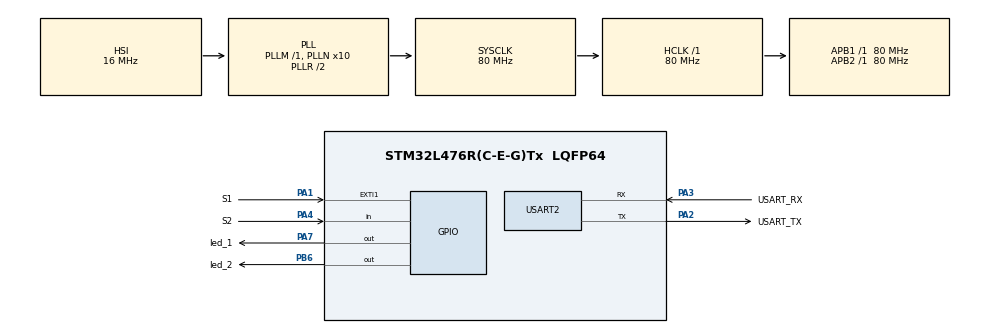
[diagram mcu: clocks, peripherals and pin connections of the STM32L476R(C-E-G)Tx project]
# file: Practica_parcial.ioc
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Mcu.Family=STM32L4
Mcu.Name=STM32L476R(C-E-G)Tx
Mcu.Package=LQFP64
NVIC.EXTI1_IRQn=true\:0\:0\:false\:false\:true\:true\:true\:true
NVIC.EXTI4_IRQn=true\:0\:0\:false\:false\:true\:true\:true\:true
NVIC.PriorityGroup=NVIC_PRIORITYGROUP_4
PA1.GPIO_Label=S1
PA1.Signal=GPXTI1
PA13\ (JTMS-SWDIO).GPIO_Label=TMS
PA13\ (JTMS-SWDIO).Mode=Serial_Wire
PA13\ (JTMS-SWDIO).Signal=SYS_JTMS-SWDIO
PA14\ (JTCK-SWCLK).GPIO_Label=TCK
PA14\ (JTCK-SWCLK).Mode=Serial_Wire
PA14\ (JTCK-SWCLK).Signal=SYS_JTCK-SWCLK
PA2.GPIO_Label=USART_TX
PA2.GPIO_Mode=GPIO_MODE_AF_PP
PA2.GPIO_PuPd=GPIO_NOPULL
PA2.GPIO_Speed=GPIO_SPEED_FREQ_VERY_HIGH
PA2.Mode=Asynchronous
PA2.Signal=USART2_TX
PA3.GPIO_Label=USART_RX
PA3.GPIO_Mode=GPIO_MODE_AF_PP
PA3.GPIO_PuPd=GPIO_NOPULL
PA3.GPIO_Speed=GPIO_SPEED_FREQ_VERY_HIGH
PA3.Mode=Asynchronous
PA3.Signal=USART2_RX
PA4.GPIO_Label=S2
PA4.Signal=SharedStack_PA4
PA4.Stacked=true
PA7.GPIO_Label=led_1
PA7.Signal=GPIO_Output
PB3\ (JTDO-TRACESWO).GPIO_Label=SWO
PB3\ (JTDO-TRACESWO).Signal=SYS_JTDO-SWO
PB6.GPIO_Label=led_2
PB6.Signal=GPIO_Output
ProjectManager.HeapSize=0x200
ProjectManager.StackSize=0x400
ProjectManager.TargetToolchain=STM32CubeIDE
RCC.ADCFreq_Value=64000000
RCC.AHBFreq_Value=80000000
RCC.APB1Freq_Value=80000000
RCC.APB1TimFreq_Value=80000000
RCC.APB2Freq_Value=80000000
RCC.APB2TimFreq_Value=80000000
RCC.CortexFreq_Value=80000000
RCC.HCLKFreq_Value=80000000
RCC.HSE_VALUE=8000000
RCC.HSI_VALUE=16000000
RCC.MSI_VALUE=4000000
RCC.PLLN=10
RCC.PLLSourceVirtual=RCC_PLLSOURCE_HSI
RCC.PREFETCH_ENABLE=1
RCC.SYSCLKFreq_VALUE=80000000
RCC.SYSCLKSource=RCC_SYSCLKSOURCE_PLLCLK
RCC.USBFreq_Value=64000000
RCC.VCOOutputFreq_Value=160000000
SH.SharedStack_PA4.0=GPIO_Input+0
SH.SharedStack_PA4.1=GPIO_EXTI4
USART2.VirtualMode-Asynchronous=VM_ASYNC
board=NUCLEO-L476RG

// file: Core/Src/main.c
/* USER CODE BEGIN Header */
/**
  ******************************************************************************
  * @file           : main.c
  * @brief          : Main program body
  ******************************************************************************
  * @attention
  *
  * Copyright (c) 2024 STMicroelectronics.
  * All rights reserved.
  *
  * This software is licensed under terms that can be found in the LICENSE file
  * in the root directory of this software component.
  * If no LICENSE file comes with this software, it is provided AS-IS.
  *
  ******************************************************************************
  */
/* USER CODE END Header */
#include "main.h"

/* USER CODE BEGIN PM */
uint32_t flag1=0;
uint32_t flag2=0;

/* USER CODE END PM */

UART_HandleTypeDef huart2;

void SystemClock_Config(void);
static void MX_GPIO_Init(void);
static void MX_USART2_UART_Init(void);
/* USER CODE BEGIN PFP */
void HAL_GPIO_EXTI_Callback(uint16_t GPIO_Pin){
	UNUSED(GPIO_Pin);
	if (GPIO_Pin == S1_Pin){

		flag1++;
		if (flag1==1){
			HAL_UART_Transmit(&huart2,"l1_active\r\n",11,10);

		}
		else if (flag1 ==2 ){
			flag1 = 0;
			HAL_UART_Transmit(&huart2,"l1_reset\r\n",10,10);

		}
	}

	else if (GPIO_Pin == S2_Pin){
			flag2++;
			if (flag2==1){
				HAL_UART_Transmit(&huart2,"l2_active\r\n",11,10);
					}
		}
}
/* USER CODE END PFP */

int main(void)
{
  /* USER CODE BEGIN 1 */
	uint32_t counter_righ =0;
	uint32_t counter_left =0;
  /* USER CODE END 1 */

  /* MCU Configuration--------------------------------------------------------*/

  /* Reset of all peripherals, Initializes the Flash interface and the Systick. */
  HAL_Init();

  /* Configure the system clock */
  SystemClock_Config();

  /* Initialize all configured peripherals */
  MX_GPIO_Init();
  MX_USART2_UART_Init();

  /* Infinite loop */
  while (1)
  {
	  if(flag1 == 1){
		  while(counter_righ < 6){

			  HAL_GPIO_TogglePin(led_1_GPIO_Port,led_1_Pin);
			  HAL_Delay(300);
			  counter_righ++;

		  }

	  }

	  if(flag2 == 1){
		  while(counter_left < 6){

		  			  HAL_GPIO_TogglePin(led_2_GPIO_Port,led_2_Pin);
		  			  HAL_Delay(300);
		  			  counter_left++;

		  		  }

	 	  }
  }
}

void SystemClock_Config(void)
{
  RCC_OscInitTypeDef RCC_OscInitStruct = {0};
  RCC_ClkInitTypeDef RCC_ClkInitStruct = {0};

  /** Configure the main internal regulator output voltage
  */
  if (HAL_PWREx_ControlVoltageScaling(PWR_REGULATOR_VOLTAGE_SCALE1) != HAL_OK)
  {
    Error_Handler();
  }

  /** Initializes the RCC Oscillators according to the specified parameters
  * in the RCC_OscInitTypeDef structure.
  */
  RCC_OscInitStruct.OscillatorType = RCC_OSCILLATORTYPE_HSI;
  RCC_OscInitStruct.HSIState = RCC_HSI_ON;
  RCC_OscInitStruct.HSICalibrationValue = RCC_HSICALIBRATION_DEFAULT;
  RCC_OscInitStruct.PLL.PLLState = RCC_PLL_ON;
  RCC_OscInitStruct.PLL.PLLSource = RCC_PLLSOURCE_HSI;
  RCC_OscInitStruct.PLL.PLLM = 1;
  RCC_OscInitStruct.PLL.PLLN = 10;
  RCC_OscInitStruct.PLL.PLLP = RCC_PLLP_DIV7;
  RCC_OscInitStruct.PLL.PLLQ = RCC_PLLQ_DIV2;
  RCC_OscInitStruct.PLL.PLLR = RCC_PLLR_DIV2;
  if (HAL_RCC_OscConfig(&RCC_OscInitStruct) != HAL_OK)
  {
    Error_Handler();
  }

  /** Initializes the CPU, AHB and APB buses clocks
  */
  RCC_ClkInitStruct.ClockType = RCC_CLOCKTYPE_HCLK|RCC_CLOCKTYPE_SYSCLK
                              |RCC_CLOCKTYPE_PCLK1|RCC_CLOCKTYPE_PCLK2;
  RCC_ClkInitStruct.SYSCLKSource = RCC_SYSCLKSOURCE_PLLCLK;
  RCC_ClkInitStruct.AHBCLKDivider = RCC_SYSCLK_DIV1;
  RCC_ClkInitStruct.APB1CLKDivider = RCC_HCLK_DIV1;
  RCC_ClkInitStruct.APB2CLKDivider = RCC_HCLK_DIV1;

  if (HAL_RCC_ClockConfig(&RCC_ClkInitStruct, FLASH_LATENCY_4) != HAL_OK)
  {
    Error_Handler();
  }
}

static void MX_USART2_UART_Init(void)
{

  huart2.Instance = USART2;
  huart2.Init.BaudRate = 115200;
  huart2.Init.WordLength = UART_WORDLENGTH_8B;
  huart2.Init.StopBits = UART_STOPBITS_1;
  huart2.Init.Parity = UART_PARITY_NONE;
  huart2.Init.Mode = UART_MODE_TX_RX;
  huart2.Init.HwFlowCtl = UART_HWCONTROL_NONE;
  huart2.Init.OverSampling = UART_OVERSAMPLING_16;
  huart2.Init.OneBitSampling = UART_ONE_BIT_SAMPLE_DISABLE;
  huart2.AdvancedInit.AdvFeatureInit = UART_ADVFEATURE_NO_INIT;
  if (HAL_UART_Init(&huart2) != HAL_OK)
  {
    Error_Handler();
  }

}

static void MX_GPIO_Init(void)
{
  GPIO_InitTypeDef GPIO_InitStruct = {0};

  /* GPIO Ports Clock Enable */
  __HAL_RCC_GPIOA_CLK_ENABLE();
  __HAL_RCC_GPIOB_CLK_ENABLE();

  /*Configure GPIO pin Output Level */
  HAL_GPIO_WritePin(led_1_GPIO_Port, led_1_Pin, GPIO_PIN_SET);

  /*Configure GPIO pin Output Level */
  HAL_GPIO_WritePin(led_2_GPIO_Port, led_2_Pin, GPIO_PIN_SET);

  /*Configure GPIO pins : S1_Pin S2_Pin */
  GPIO_InitStruct.Pin = S1_Pin|S2_Pin;
  GPIO_InitStruct.Mode = GPIO_MODE_IT_RISING;
  GPIO_InitStruct.Pull = GPIO_NOPULL;
  HAL_GPIO_Init(GPIOA, &GPIO_InitStruct);

  /*Configure GPIO pin : led_1_Pin */
  GPIO_InitStruct.Pin = led_1_Pin;
  GPIO_InitStruct.Mode = GPIO_MODE_OUTPUT_PP;
  GPIO_InitStruct.Pull = GPIO_NOPULL;
  GPIO_InitStruct.Speed = GPIO_SPEED_FREQ_LOW;
  HAL_GPIO_Init(led_1_GPIO_Port, &GPIO_InitStruct);

  /*Configure GPIO pin : led_2_Pin */
  GPIO_InitStruct.Pin = led_2_Pin;
  GPIO_InitStruct.Mode = GPIO_MODE_OUTPUT_PP;
  GPIO_InitStruct.Pull = GPIO_NOPULL;
  GPIO_InitStruct.Speed = GPIO_SPEED_FREQ_LOW;
  HAL_GPIO_Init(led_2_GPIO_Port, &GPIO_InitStruct);

  /* EXTI interrupt init*/
  HAL_NVIC_SetPriority(EXTI1_IRQn, 0, 0);
  HAL_NVIC_EnableIRQ(EXTI1_IRQn);

  HAL_NVIC_SetPriority(EXTI4_IRQn, 0, 0);
  HAL_NVIC_EnableIRQ(EXTI4_IRQn);

}

void Error_Handler(void)
{
  __disable_irq();
  while (1)
  {
  }
}
